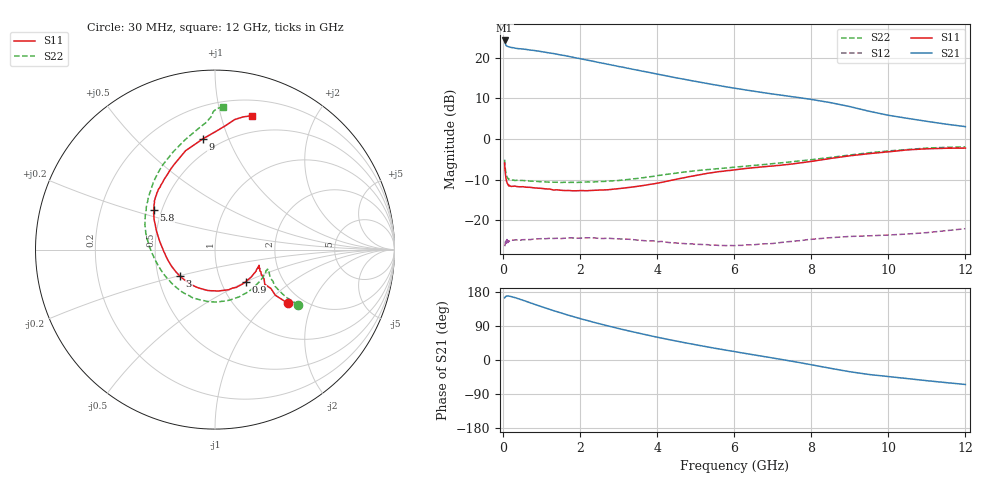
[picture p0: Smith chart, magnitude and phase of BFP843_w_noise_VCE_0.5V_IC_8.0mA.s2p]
! Infineon Technologies  Discrete & RF Semiconductors
! BFP843
! VCE =  0.5 V,  IC =  8.0 mA
! Common Emitter S-Parameters:  Aug 2013
# GHz  S  MA  R  50
!  f  S11  S21  S12  S22
! GHz  MAG  ANG  MAG  ANG  MAG  ANG  MAG  ANG
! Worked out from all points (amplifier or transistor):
!   103 points, 30 MHz to 12 GHz, reference 50 ohm
!   highest |S21| = 24.2 dB at 30 MHz (marker M1)
!   |S21| within 3 dB of that: start of sweep to 1.149 GHz
!   unconditionally stable (mu >= 1): 200.5 MHz to 720.8 MHz; 2.253 GHz to 11.91 GHz
!   at 400 MHz: K = 1.01, MAG = 23.0 dB, |S12| = -24.9 dB
!   at 3.7 GHz: K = 1.21, MAG = 18.0 dB, |S12| = -25.1 dB
!   at 12 GHz: K = 0.99, MSG = 12.6 dB, |S12| = -22.1 dB
!   lowest NFmin = 0.91 dB at 450 MHz
!   S11 on the Smith chart (normalised r, x): 30 MHz: 1.69, -1.35; 900 MHz: 1.31, -0.50; 3 GHz: 0.65, -0.21; 5.8 GHz: 0.45, +0.24; 9 GHz: 0.40, +0.81; 12 GHz: 0.34, +1.26
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0.03  0.5038 -36.4  16.24 164.1  0.0479 31.2  0.5553 -33.6
0.04  0.4214 -37.1  15.29 164.9  0.0489 22.7  0.4721 -33.8
0.05  0.3792 -34.8  14.74 167.1  0.0535 23.2  0.4226 -32.5
0.07  0.3191 -31.0  14.03 168.2  0.052 15.6  0.3674 -28.6
0.13  0.2728 -23.1  13.6 169.0  0.054 8.8  0.3181 -22.0
0.6  0.2542 -32.5  12.57 154.4  0.0577 2.1  0.305 -36.2
0.9  0.2475 -46.3  12.02 143.8  0.0589 0.1  0.2993 -51.8
1.4  0.2363 -70.7  10.97 127.2  0.0599 -2.1  0.2927 -78.0
1.7  0.2318 -85.3  10.32 117.8  0.0606 -4.0  0.2914 -92.8
2.1  0.2307 -104.4  9.458 106.2  0.0606 -5.8  0.2936 -111.1
2.6  0.2356 -126.1  8.481 92.9  0.0595 -8.9  0.2996 -131.6
3  0.2445 -142.5  7.756 82.9  0.0588 -11.8  0.3079 -146.6
3.5  0.2614 -161.4  6.972 71.2  0.0568 -13.4  0.3271 -163.3
4.1  0.2912 179.0  6.127 58.0  0.0548 -15.4  0.358 -179.6
4.8  0.3417 162.5  5.295 43.9  0.051 -14.7  0.3968 166.5
5.8  0.4063 147.2  4.358 25.6  0.0487 -11.8  0.4388 151.4
6.1  0.4215 143.7  4.132 20.5  0.049 -9.8  0.4528 147.2
7.4  0.4852 125.2  3.351 -1.7  0.0544 -6.4  0.5178 130.1
8.5  0.5746 106.6  2.789 -22.0  0.0609 -8.4  0.5913 113.4
9  0.6199 96.4  2.494 -31.0  0.0631 -11.0  0.6337 105.3
10.5  0.7327 81.4  1.787 -49.1  0.0676 -14.2  0.7403 91.7
12  0.7707 74.3  1.415 -64.6  0.0786 -18.6  0.7969 86.7
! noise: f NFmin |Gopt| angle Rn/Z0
0.45  0.91  0.1  6  0.01
0.9  0.92  0.1  16  0.03
1.5  0.94  0.1  26  0.09
1.9  0.96  0.09  37  0.17
2.4  1  0.07  48  0.24
3.5  1.07  0.05  59  0.28
5.5  1.21  0.14  -134  0.33
10  1.87  0.5  -69  0.42
